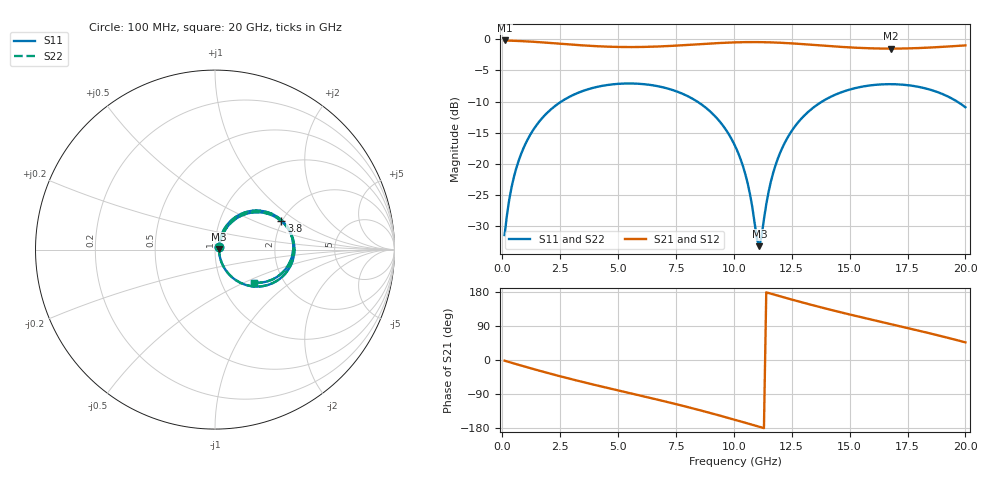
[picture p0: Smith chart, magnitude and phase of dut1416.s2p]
! Touchstone file exported from HFSS 2026.1.0
!  File:  C:/ffzhzh/LocalFiles/Ansys_Project_Files/temp_train_TSV_RDL_1416_1783353689_46376.aedt
!  Generated:  12:14:17 AM Jul  7, 2026
!  Design:  TSV_RDL
!  Project:  temp_train_TSV_RDL_1416_1783353689_46376
! Variables:
!  h_bsmrdl = 3.1um
!  h_ox = 20um
!  h_rdl = 5um
!  h_sub = 84.29um
!  h_tmrdl = 5.26um
!  h_tsv = 84.29um
!  h_via = 3um
!  l_bsmrdl = 646.49um
!  l_sub = 5221.28um
!  l_tmrdl = 691um
!  m_sub = 200um
!  pitch = 42.19um
!  r_tsv = 12.3um
!  s_tmrdl = 10um
!  w_bsmrdl = 18.99um
!  w_sub = 500um
!  w_tmrdl = 20.28um
!  x_tsv_center1 = 701.14um
!  x_tsv_center2 = 1366.62um
!  x_tsv_center3 = 2077.9um
!  x_tsv_center4 = 2743.38um
!  x_tsv_center5 = 3454.66um
!  x_tsv_center6 = 4120.14um
# GHz S MA R 50.000000
! Terminal data exported
! Port[1] = TM_RDL1_1_T1
! Port[2] = TM_RDL5_1_T1
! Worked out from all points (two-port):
!   200 points, 100 MHz to 20 GHz, reference 50 ohm
!   highest |S21| = -0.19 dB at 100 MHz (marker M1); lowest = -1.5 dB at 16.8 GHz (marker M2)
!   |S21| within 3 dB of the highest: start of sweep to end of sweep
!   lowest |S11| = -33.2 dB at 11.1 GHz (marker M3), VSWR 1.04, Z = 52.2 + j0.218 ohm
!   |S11| at or under -10 dB: start of sweep to 2.541 GHz; 8.427 GHz to 13.8 GHz (5.374 GHz wide, 48.4 % of centre); 19.65 GHz to end of sweep
!   |S22| runs from -33.0 to -7.1 dB; largest |S21 - S12| = 1.6e-14
!   S11 on the Smith chart (normalised r, x): 100 MHz: 1.04, +0.03; 3.8 GHz: 1.98, +0.75; 20 GHz: 1.42, -0.57
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0.1  0.02702 34.7  0.9782 -1.9  0.9782 -1.9  0.02702 34.7
! Gamma 0 0 0 0
! Port Impedance 50 0 50 0
0.3  0.05188 57.2  0.9753 -5.5  0.9753 -5.5  0.05188 57.2
0.5  0.07863 62.3  0.9722 -9.1  0.9722 -9.1  0.07863 62.3
1.1  0.1581 60.5  0.9606 -19.6  0.9606 -19.6  0.1581 60.5
2.1  0.2742 47.6  0.933 -36.5  0.933 -36.5  0.2742 47.6
3.5  0.3863 27.5  0.8925 -58.4  0.8925 -58.4  0.3863 27.5
3.8  0.4023 23.3  0.8855 -62.9  0.8855 -62.9  0.4023 23.3
5.3  0.4421 2.8  0.8664 -84.5  0.8664 -84.5  0.442 2.8
6.8  0.4176 -17.6  0.8761 -106.0  0.8761 -106.0  0.4176 -17.6
8.8  0.2818 -46.0  0.9199 -136.8  0.9199 -136.8  0.2818 -45.9
10.1  0.1338 -62.3  0.9448 -158.8  0.9448 -158.8  0.1338 -62.1
10.6  0.06972 -61.8  0.9488 -167.5  0.9488 -167.5  0.06979 -61.5
11.1  0.022 5.4  0.9486 -176.3  0.9486 -176.3  0.02235 5.5
11.5  0.05984 63.0  0.9454 176.7  0.9454 176.7  0.06001 62.8
11.9  0.1107 66.4  0.9396 169.8  0.9396 169.8  0.1108 66.2
12.5  0.1844 61.0  0.9269 159.5  0.9269 159.5  0.1844 61.0
13.4  0.2804 49.1  0.9024 144.7  0.9024 144.7  0.2805 49.0
14.9  0.3902 28.2  0.8628 121.7  0.8628 121.7  0.3902 28.2
16.7  0.4368 4.2  0.8415 95.8  0.8415 95.8  0.4368 4.2
16.8  0.4367 2.9  0.8415 94.4  0.8415 94.4  0.4368 2.9
18.5  0.3934 -19.8  0.8588 69.9  0.8588 69.9  0.3935 -19.8
20  0.2853 -40.2  0.8929 46.6  0.8929 46.6  0.2853 -40.1
